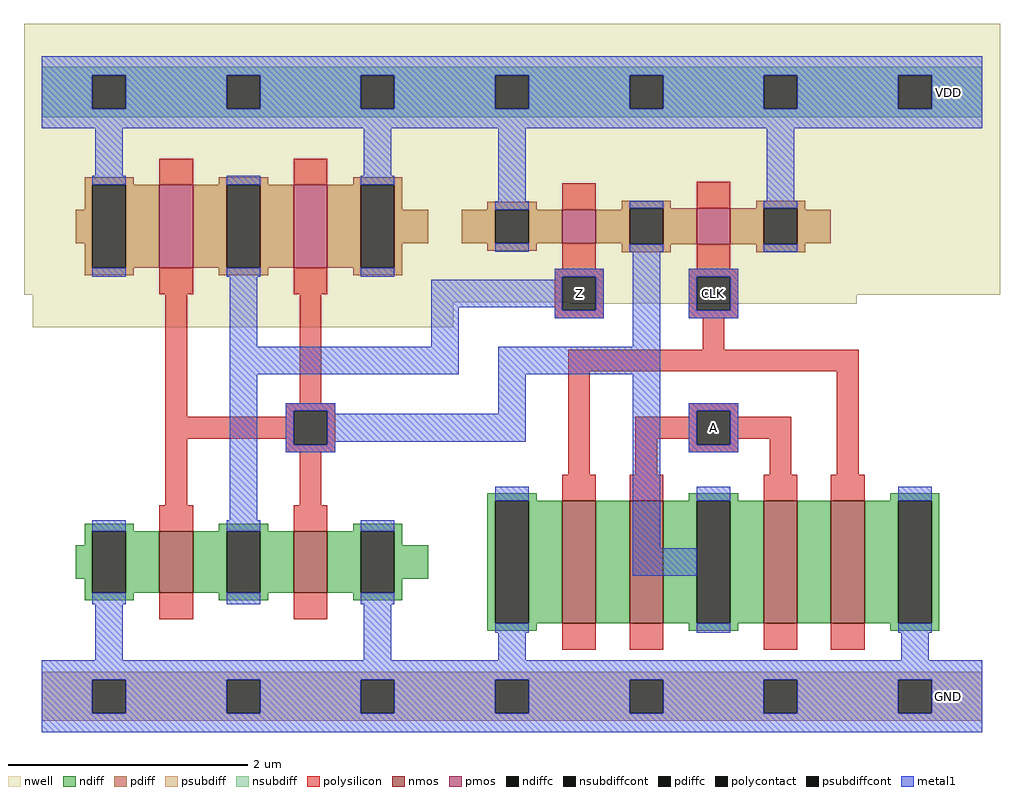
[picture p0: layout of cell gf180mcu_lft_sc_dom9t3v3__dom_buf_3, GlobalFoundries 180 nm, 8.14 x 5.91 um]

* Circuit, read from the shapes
.subckt gf180mcu_lft_sc_dom9t3v3__dom_buf_3 GND VDD A CLK Z
XM1 Z n1 GND GND nfet_03v3 w=0.51u l=0.28u m=2
XM2 n2 CLK GND GND nfet_03v3 w=1.02u l=0.28u
XM3 n1 A n2 GND nfet_03v3 w=1.02u l=0.28u
XM4 n3 A n1 GND nfet_03v3 w=1.02u l=0.28u
XM5 GND CLK n3 GND nfet_03v3 w=1.02u l=0.28u
XM6 Z n1 VDD VDD pfet_03v3 w=0.69u l=0.28u m=2
XM7 n1 Z VDD VDD pfet_03v3 w=0.28u l=0.28u
XM8 VDD CLK n1 VDD pfet_03v3 w=0.3u l=0.28u
.ends

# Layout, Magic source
magic
tech gf180mcuD
magscale 1 10
<< nwell >>
rect -30 670 1598 1122
rect -15 657 1359 670
rect -15 616 687 657
rect 881 655 1359 657
<< nmos >>
rect 196 173 252 275
rect 420 173 476 275
rect 868 122 924 326
rect 980 122 1036 326
rect 1204 122 1260 326
rect 1316 122 1372 326
<< pmos >>
rect 196 715 252 853
rect 420 715 476 853
rect 868 756 924 812
rect 1092 754 1148 814
<< ndiff >>
rect 743 326 825 339
rect 1079 326 1161 339
rect 1415 326 1497 339
rect 71 275 153 288
rect 295 275 377 288
rect 519 275 601 288
rect 71 252 84 275
rect 56 196 84 252
rect 71 173 84 196
rect 140 173 196 275
rect 252 173 308 275
rect 364 173 420 275
rect 476 173 532 275
rect 588 252 601 275
rect 588 196 644 252
rect 588 173 601 196
rect 71 160 153 173
rect 295 160 377 173
rect 519 160 601 173
rect 743 122 756 326
rect 812 122 868 326
rect 924 122 980 326
rect 1036 122 1092 326
rect 1148 122 1204 326
rect 1260 122 1316 326
rect 1372 122 1428 326
rect 1484 122 1497 326
rect 743 109 825 122
rect 1079 109 1161 122
rect 1415 109 1497 122
<< pdiff >>
rect 71 853 153 866
rect 295 853 377 866
rect 519 853 601 866
rect 71 812 84 853
rect 56 756 84 812
rect 71 715 84 756
rect 140 715 196 853
rect 252 715 308 853
rect 364 715 420 853
rect 476 715 532 853
rect 588 812 601 853
rect 743 812 825 825
rect 967 814 1049 827
rect 1191 814 1273 827
rect 967 812 980 814
rect 588 756 644 812
rect 700 756 756 812
rect 812 756 868 812
rect 924 756 980 812
rect 588 715 601 756
rect 743 743 825 756
rect 71 702 153 715
rect 295 702 377 715
rect 519 702 601 715
rect 967 754 980 756
rect 1036 754 1092 814
rect 1148 754 1204 814
rect 1260 812 1273 814
rect 1260 756 1316 812
rect 1260 754 1273 756
rect 967 741 1049 754
rect 1191 741 1273 754
<< ndiffc >>
rect 84 173 140 275
rect 308 173 364 275
rect 532 173 588 275
rect 756 122 812 326
rect 1092 122 1148 326
rect 1428 122 1484 326
<< pdiffc >>
rect 84 715 140 853
rect 308 715 364 853
rect 532 715 588 853
rect 756 756 812 812
rect 980 754 1036 814
rect 1204 754 1260 814
<< psubdiff >>
rect 0 28 1568 41
rect 0 -28 84 28
rect 140 -28 308 28
rect 364 -28 532 28
rect 588 -28 756 28
rect 812 -28 980 28
rect 1036 -28 1204 28
rect 1260 -28 1428 28
rect 1484 -28 1568 28
rect 0 -41 1568 -28
<< nsubdiff >>
rect 0 1036 1568 1050
rect 0 980 84 1036
rect 140 980 308 1036
rect 364 980 532 1036
rect 588 980 756 1036
rect 812 980 980 1036
rect 1036 980 1204 1036
rect 1260 980 1428 1036
rect 1484 980 1568 1036
rect 0 966 1568 980
<< psubdiffcont >>
rect 84 -28 140 28
rect 308 -28 364 28
rect 532 -28 588 28
rect 756 -28 812 28
rect 980 -28 1036 28
rect 1204 -28 1260 28
rect 1428 -28 1484 28
<< nsubdiffcont >>
rect 84 980 140 1036
rect 308 980 364 1036
rect 532 980 588 1036
rect 756 980 812 1036
rect 980 980 1036 1036
rect 1204 980 1260 1036
rect 1428 980 1484 1036
<< polysilicon >>
rect 196 853 252 897
rect 420 853 476 897
rect 868 812 924 856
rect 1092 814 1148 858
rect 196 671 252 715
rect 420 671 476 715
rect 868 713 924 756
rect 1092 713 1148 754
rect 855 700 937 713
rect 206 466 242 671
rect 430 489 466 671
rect 855 644 868 700
rect 924 644 937 700
rect 855 631 937 644
rect 1079 700 1161 713
rect 1079 644 1092 700
rect 1148 644 1161 700
rect 1079 631 1161 644
rect 1102 578 1138 631
rect 878 542 1362 578
rect 407 476 489 489
rect 407 466 420 476
rect 206 430 420 466
rect 206 319 242 430
rect 407 420 420 430
rect 476 420 489 476
rect 407 407 489 420
rect 430 319 466 407
rect 878 370 914 542
rect 1079 476 1161 489
rect 1079 466 1092 476
rect 990 430 1092 466
rect 990 370 1026 430
rect 1079 420 1092 430
rect 1148 466 1161 476
rect 1148 430 1250 466
rect 1148 420 1161 430
rect 1079 407 1161 420
rect 1214 370 1250 430
rect 1326 370 1362 542
rect 868 326 924 370
rect 980 326 1036 370
rect 1204 326 1260 370
rect 1316 326 1372 370
rect 196 275 252 319
rect 420 275 476 319
rect 196 129 252 173
rect 420 129 476 173
rect 868 78 924 122
rect 980 78 1036 122
rect 1204 78 1260 122
rect 1316 78 1372 122
<< polycontact >>
rect 868 644 924 700
rect 1092 644 1148 700
rect 420 420 476 476
rect 1092 420 1148 476
<< metal1 >>
rect 0 1036 1568 1068
rect 0 980 84 1036
rect 140 980 308 1036
rect 364 980 532 1036
rect 588 980 756 1036
rect 812 980 980 1036
rect 1036 980 1204 1036
rect 1260 980 1428 1036
rect 1484 980 1568 1036
rect 0 948 1568 980
rect 89 868 135 948
rect 537 868 583 948
rect 84 853 140 868
rect 84 700 140 715
rect 308 853 364 868
rect 308 700 364 715
rect 532 853 588 868
rect 761 826 807 948
rect 1209 826 1255 948
rect 756 812 812 826
rect 756 742 812 756
rect 980 814 1036 826
rect 980 742 1036 754
rect 1204 814 1260 826
rect 1204 742 1260 754
rect 532 700 588 715
rect 855 700 937 713
rect 313 583 359 700
rect 855 695 868 700
rect 649 649 868 695
rect 649 583 695 649
rect 855 644 868 649
rect 924 644 937 700
rect 855 631 937 644
rect 985 583 1031 742
rect 1079 700 1161 713
rect 1079 644 1092 700
rect 1148 644 1161 700
rect 1079 631 1161 644
rect 313 537 695 583
rect 761 537 1031 583
rect 313 294 359 537
rect 407 476 489 489
rect 407 420 420 476
rect 476 471 489 476
rect 761 471 807 537
rect 476 425 807 471
rect 476 420 489 425
rect 407 407 489 420
rect 756 326 812 350
rect 84 275 140 294
rect 84 154 140 173
rect 308 275 364 294
rect 308 154 364 173
rect 532 275 588 294
rect 532 154 588 173
rect 89 60 135 154
rect 537 60 583 154
rect 985 247 1031 537
rect 1079 476 1161 489
rect 1079 420 1092 476
rect 1148 420 1161 476
rect 1079 407 1161 420
rect 1092 326 1148 350
rect 985 201 1092 247
rect 756 106 812 122
rect 1092 106 1148 122
rect 1428 326 1484 350
rect 1428 106 1484 122
rect 761 60 807 106
rect 1433 60 1479 106
rect 0 28 1568 60
rect 0 -28 84 28
rect 140 -28 308 28
rect 364 -28 532 28
rect 588 -28 756 28
rect 812 -28 980 28
rect 1036 -28 1204 28
rect 1260 -28 1428 28
rect 1484 -28 1568 28
rect 0 -60 1568 -28
<< labels >>
rlabel metal1 1512 0 1512 0 3 GND
port 1 e
rlabel metal1 1512 1008 1512 1008 3 VDD
port 2 e
rlabel polycontact 1120 448 1120 448 3 A
port 3 e
rlabel polycontact 1120 672 1120 672 3 CLK
port 4 e
rlabel polycontact 896 672 896 672 3 Z
port 5 e
<< properties >>
string FIXED_BBOX 0 0 1568 1008
<< end >>
